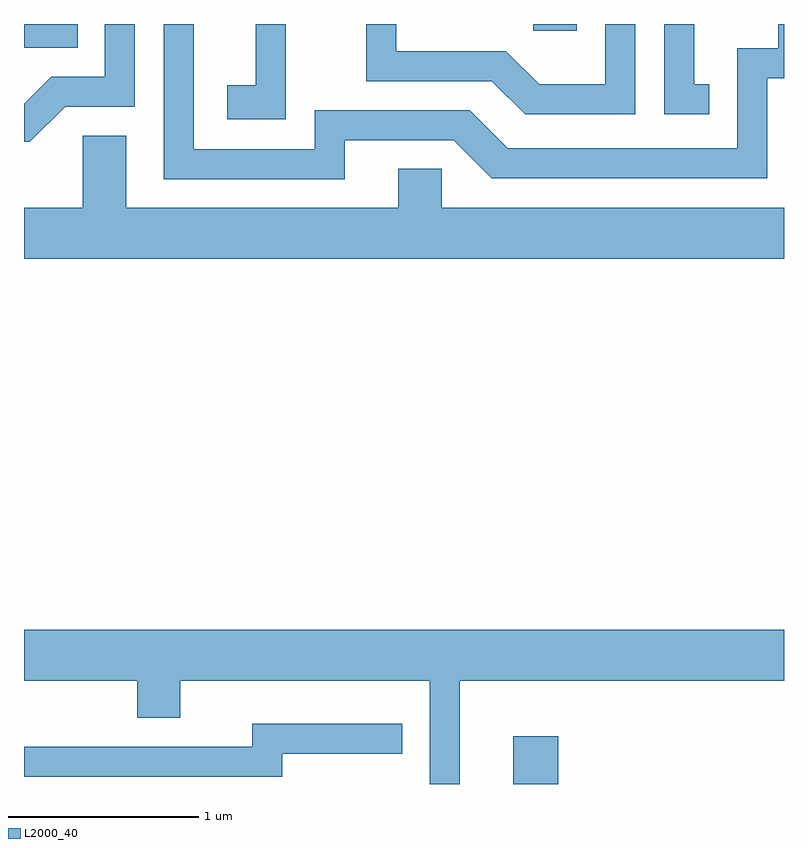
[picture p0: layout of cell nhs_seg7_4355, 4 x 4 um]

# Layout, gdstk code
import gdstk
lib = gdstk.Library(unit=1e-6, precision=1e-09)
def R(c, l, rs):  # rectangles x0, y0, x1, y1
    for r in rs: c.add(gdstk.rectangle(r[:2], r[2:], *l))
def P(c, l, *ps):  # polygons
    for p in ps: c.add(gdstk.Polygon(p, *l))
L2000_40 = (2000, 40)

nhs_seg7_4355 = lib.new_cell('nhs_seg7_4355')
R(nhs_seg7_4355, L2000_40, [(322.186,1678.252,322.424,1678.504), (319.611,1682.126,319.893,1682.252), (322.291,1682.216,322.519,1682.252)])
P(nhs_seg7_4355, L2000_40, [(319.827,1681.816),(320.194,1681.816),(320.194,1682.252),(320.036,1682.252),(320.036,1681.974),(319.754,1681.974),(319.611,1681.831),(319.611,1681.631),(319.642,1681.631)],
  [(322.829,1682.252),(322.671,1682.252),(322.671,1681.934),(322.322,1681.934),(322.147,1682.109),(321.569,1682.109),(321.569,1682.252),(321.411,1682.252),(321.411,1681.951),(322.074,1681.951),(322.249,1681.776),(322.829,1681.776)],
  [(321.299,1681.641),(321.874,1681.641),(322.074,1681.441),(323.524,1681.441),(323.524,1681.966),(323.611,1681.966),(323.611,1682.252),(323.581,1682.252),(323.581,1682.124),(323.366,1682.124),(323.366,1681.599),(322.157,1681.599),(321.957,1681.799),(321.141,1681.799),(321.141,1681.594),(320.504,1681.594),(320.504,1682.252),(320.346,1682.252),(320.346,1681.436),(321.299,1681.436)],
  [(323.218,1681.934),(323.139,1681.934),(323.139,1682.252),(322.981,1682.252),(322.981,1681.776),(323.218,1681.776)],
  [(320.989,1682.252),(320.831,1682.252),(320.831,1681.929),(320.681,1681.929),(320.681,1681.751),(320.989,1681.751)],
  [(323.611,1681.284),(321.809,1681.284),(321.809,1681.489),(321.581,1681.489),(321.581,1681.284),(320.149,1681.284),(320.149,1681.664),(319.921,1681.664),(319.921,1681.284),(319.611,1681.284),(319.611,1681.016),(323.611,1681.016)],
  [(321.904,1678.796),(323.611,1678.796),(323.611,1679.064),(319.611,1679.064),(319.611,1678.796),(320.206,1678.796),(320.206,1678.601),(320.434,1678.601),(320.434,1678.796),(321.746,1678.796),(321.746,1678.252),(321.904,1678.252)],
  [(320.969,1678.411),(321.603,1678.411),(321.603,1678.569),(320.811,1678.569),(320.811,1678.449),(319.611,1678.449),(319.611,1678.291),(320.969,1678.291)])

lib.write_gds('nhs_seg7_4355.gds')
